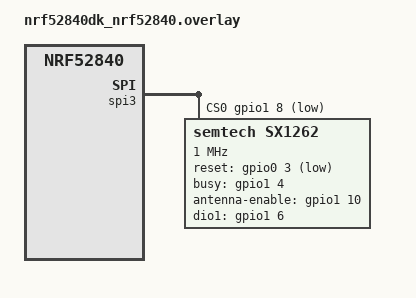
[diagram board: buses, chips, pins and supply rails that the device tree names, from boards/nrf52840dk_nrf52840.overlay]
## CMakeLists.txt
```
# SPDX-License-Identifier: Apache-2.0

cmake_minimum_required(VERSION 3.28.0)

find_package(Zephyr REQUIRED HINTS $ENV{ZEPHYR_BASE})
project(lorawan)

FILE(GLOB app_sources src/*.c)
target_sources(app PRIVATE ${app_sources})
```

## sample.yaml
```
common:
  tags: lorawan
  depends_on: lora
  harness: console
  harness_config:
    type: one_line
    regex:
      - "<inf> lorawan_class_a: Joining network over OTAA"
sample:
  description: Demonstration of Class-A LoRaWAN functionality
  name: LoRaWAN Class-A
tests:
  sample.lorawan.class_a.as923:
    extra_configs:
      - CONFIG_LORAWAN_REGION_AS923=y
  sample.lorawan.class_a.au915:
    extra_configs:
      - CONFIG_LORAWAN_REGION_AU915=y
  sample.lorawan.class_a.cn470:
    extra_configs:
      - CONFIG_LORAWAN_REGION_CN470=y
  sample.lorawan.class_a.cn779:
    extra_configs:
      - CONFIG_LORAWAN_REGION_CN779=y
  sample.lorawan.class_a.eu433:
    extra_configs:
      - CONFIG_LORAWAN_REGION_EU433=y
  sample.lorawan.class_a.eu868:
    extra_configs:
      - CONFIG_LORAWAN_REGION_EU868=y
  sample.lorawan.class_a.kr920:
    extra_configs:
      - CONFIG_LORAWAN_REGION_KR920=y
  sample.lorawan.class_a.in865:
    extra_configs:
      - CONFIG_LORAWAN_REGION_IN865=y
  sample.lorawan.class_a.us915:
    extra_configs:
      - CONFIG_LORAWAN_REGION_US915=y
  sample.lorawan.class_a.ru864:
    extra_configs:
      - CONFIG_LORAWAN_REGION_RU864=y
  sample.lorawan.class_a.multiregion:
    extra_configs:
      - CONFIG_LORAWAN_REGION_EU868=y
      - CONFIG_LORAWAN_REGION_US915=y
```

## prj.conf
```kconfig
CONFIG_LOG=y
CONFIG_LORA=y
CONFIG_LORAWAN=y
CONFIG_MAIN_STACK_SIZE=2048
CONFIG_SYSTEM_WORKQUEUE_STACK_SIZE=2048
CONFIG_ENTROPY_GENERATOR=y
```

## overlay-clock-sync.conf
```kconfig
CONFIG_LORAWAN_SERVICES=y
CONFIG_LORAWAN_SERVICES_LOG_LEVEL_DBG=y
CONFIG_LORAWAN_APP_CLOCK_SYNC=y
```

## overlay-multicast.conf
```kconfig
# NVS required to store LoRaWAN DevNonce and multicast sessions
CONFIG_NVS=y
CONFIG_SETTINGS=y
CONFIG_LORAWAN_NVM_SETTINGS=y

CONFIG_LORAWAN_SERVICES=y
CONFIG_LORAWAN_SERVICES_LOG_LEVEL_DBG=y
CONFIG_LORAWAN_APP_CLOCK_SYNC=y
CONFIG_LORAWAN_REMOTE_MULTICAST=y
```

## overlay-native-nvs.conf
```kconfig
# SPDX-FileCopyrightText: Copyright The Zephyr Project Contributors
# SPDX-License-Identifier: Apache-2.0

CONFIG_LORA_MODULE_BACKEND_NATIVE=y
CONFIG_FLASH=y
CONFIG_FLASH_MAP=y
CONFIG_NVS=y
CONFIG_SETTINGS=y
CONFIG_SETTINGS_NVS=y
CONFIG_LORAWAN_NVM_SETTINGS=y
```

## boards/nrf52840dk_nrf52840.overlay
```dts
&spi3 {
        compatible = "nordic,nrf-spim";
        status = "okay";
        pinctrl-0 = <&spi3_default>;
        pinctrl-1 = <&spi3_sleep>;
        pinctrl-names = "default", "sleep";
	cs-gpios = <&gpio1 8 GPIO_ACTIVE_LOW>;

        lora: sx1262@0 {
                compatible = "semtech,sx1262";
                reg = <0>;
                label = "sx1262";
                reset-gpios = <&gpio0 3 GPIO_ACTIVE_LOW>;
                busy-gpios = <&gpio1 4 GPIO_ACTIVE_HIGH>;
		antenna-enable-gpios = <&gpio1 10 GPIO_ACTIVE_HIGH>;
		dio1-gpios = <&gpio1 6 GPIO_ACTIVE_HIGH>;
		dio2-tx-enable;
		tcxo-power-startup-delay-ms = <5>;
                spi-max-frequency = <1000000>;
        };
};

/ {

        aliases {
		lora0 = &lora;
        };
};
```

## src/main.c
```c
/*
 * Class A LoRaWAN sample application
 *
 * Copyright (c) 2020 Manivannan Sadhasivam <mani@kernel.org>
 *
 * SPDX-License-Identifier: Apache-2.0
 */

#include <zephyr/device.h>
#include <zephyr/lorawan/lorawan.h>
#include <zephyr/kernel.h>

/* Customize based on network configuration */
#define LORAWAN_DEV_EUI			{ 0xDD, 0xEE, 0xAA, 0xDD, 0xBB, 0xEE,\
					  0xEE, 0xFF }
#define LORAWAN_JOIN_EUI		{ 0x00, 0x00, 0x00, 0x00, 0x00, 0x00,\
					  0x00, 0x00 }
#define LORAWAN_APP_KEY			{ 0x2B, 0x7E, 0x15, 0x16, 0x28, 0xAE,\
					  0xD2, 0xA6, 0xAB, 0xF7, 0x15, 0x88,\
					  0x09, 0xCF, 0x4F, 0x3C }

#define DELAY K_MSEC(10000)

/* Request a link check on every n-th uplink */
#define LINK_CHECK_PERIOD 5

#define LOG_LEVEL CONFIG_LOG_DEFAULT_LEVEL
#include <zephyr/logging/log.h>
LOG_MODULE_REGISTER(lorawan_class_a);

char data[] = {'h', 'e', 'l', 'l', 'o', 'w', 'o', 'r', 'l', 'd'};

static void dl_callback(uint8_t port, uint8_t flags, int16_t rssi, int8_t snr, uint8_t len,
			const uint8_t *hex_data)
{
	LOG_INF("Port %d, RSSI %ddB, SNR %ddBm", port, rssi, snr);

	if (flags & LORAWAN_TIME_UPDATED) {
		/* The stack has synced the network time from a DeviceTimeAns. */
		LOG_INF("Network time updated");
	}

	if (flags & LORAWAN_DATA_PENDING) {
		/* The network server has more downlinks queued.  An application
		 * that wants to drain them promptly can schedule another uplink
		 * (e.g. an empty one on any port) here.
		 */
		LOG_INF("Network reports more data pending (FPending set)");
	}

	if (hex_data) {
		LOG_HEXDUMP_INF(hex_data, len, "Payload: ");
	}
}

static void lorwan_datarate_changed(enum lorawan_datarate dr)
{
	uint8_t unused, max_size;

	lorawan_get_payload_sizes(&unused, &max_size);
	LOG_INF("New Datarate: DR_%d, Max Payload %d", dr, max_size);
}

static void link_check_ans_cb(uint8_t demod_margin, uint8_t nb_gateways)
{
	LOG_INF("Link check: margin %u dB, %u gateway(s)", demod_margin, nb_gateways);
}

static void network_join(struct lorawan_join_config *join_cfg)
{
	uint32_t join_backoff_ms;
	bool first_join = true;
	int join_airtime;
	int ret;

	LOG_INF("Joining network over OTAA");
	while (1) {
		join_airtime = lorawan_join_airtime();
		if (join_airtime < 0) {
			LOG_WRN_ONCE("Failed to query Join-Request airtime: %d", join_airtime);
			LOG_WRN_ONCE("Fallback to longest known airtime");
			/* Use known longest join-request duration */
			join_airtime = 1700;
		}
		LOG_INF("Join-Request airtime: %d ms", join_airtime);

		/* Delay BEFORE the send to prevent a TX triggered reboot transmitting at a high
		 * duty cycle.
		 */
		join_backoff_ms = lorawan_join_backoff(join_airtime);

		/* Limit the first wait to 5 seconds to keep the sample responsive for new users.
		 * Real applications SHOULD NOT do this, as it may violate regional duty cycle
		 * limitations under frequent reboots.
		 */
		if (first_join && (join_backoff_ms > (5 * MSEC_PER_SEC))) {
			LOG_WRN("First wait limited to 5 seconds (from %u ms) for sample purposes",
				join_backoff_ms);
			join_backoff_ms = 5000;
			first_join = false;
		}

		LOG_INF("Waiting %d seconds for next attempt", join_backoff_ms / MSEC_PER_SEC);
		k_sleep(K_MSEC(join_backoff_ms));

		LOG_INF("Join attempt: %d", join_cfg->otaa.dev_nonce + 1);
		ret = lorawan_join(join_cfg);
		if (ret == 0) {
			/* Join succeeded */
			break;
		}
		LOG_ERR("lorawan_join_network failed: %d", ret);
		/* Increment DevNonce for next attempt */
		join_cfg->otaa.dev_nonce += 1;
	}
}

int main(void)
{
	const struct device *lora_dev;
	struct lorawan_join_config join_cfg;
	uint8_t dev_eui[] = LORAWAN_DEV_EUI;
	uint8_t join_eui[] = LORAWAN_JOIN_EUI;
	uint8_t app_key[] = LORAWAN_APP_KEY;
	int ret;

	struct lorawan_downlink_cb downlink_cb = {
		.port = LW_RECV_PORT_ANY,
		.cb = dl_callback
	};

	lora_dev = DEVICE_DT_GET(DT_ALIAS(lora0));
	if (!device_is_ready(lora_dev)) {
		LOG_ERR("%s: device not ready.", lora_dev->name);
		return 0;
	}

#if defined(CONFIG_LORAWAN_REGION_EU868)
	/* If more than one region Kconfig is selected, app should set region
	 * before calling lorawan_start()
	 */
	ret = lorawan_set_region(LORAWAN_REGION_EU868);
	if (ret < 0) {
		LOG_ERR("lorawan_set_region failed: %d", ret);
		return 0;
	}
#endif

	ret = lorawan_start();
	if (ret < 0) {
		LOG_ERR("lorawan_start failed: %d", ret);
		return 0;
	}

	lorawan_register_downlink_callback(&downlink_cb);
	lorawan_register_dr_changed_callback(lorwan_datarate_changed);
	lorawan_register_link_check_ans_callback(link_check_ans_cb);

	join_cfg.mode = LORAWAN_ACT_OTAA;
	join_cfg.dev_eui = dev_eui;
	join_cfg.otaa.join_eui = join_eui;
	join_cfg.otaa.app_key = app_key;
	join_cfg.otaa.nwk_key = app_key;
	join_cfg.otaa.dev_nonce = 0u;

	/* Join the network */
	network_join(&join_cfg);

	LOG_INF("Sending data...");
	for (uint32_t i = 0;; i++) {
		if ((i % LINK_CHECK_PERIOD) == 0) {
			/*
			 * The LinkCheckReq MAC command rides the next uplink;
			 * the answer is delivered via the registered callback.
			 */
			ret = lorawan_request_link_check(false);
			if (ret < 0) {
				LOG_ERR("lorawan_request_link_check failed: %d",
					ret);
			}
		}

		ret = lorawan_send(2, data, sizeof(data),
				   LORAWAN_MSG_CONFIRMED);

		/*
		 * Note: The stack may return -EAGAIN if the provided data
		 * length exceeds the maximum possible one for the region and
		 * datarate. But since we are just sending the same data here,
		 * we'll just continue.
		 */
		if (ret == -EAGAIN) {
			LOG_ERR("lorawan_send failed: %d. Continuing...", ret);
			k_sleep(DELAY);
			continue;
		}

		if (ret < 0) {
			LOG_ERR("lorawan_send failed: %d", ret);
			return 0;
		}

		LOG_INF("Data sent!");
		k_sleep(DELAY);
	}
}
```
